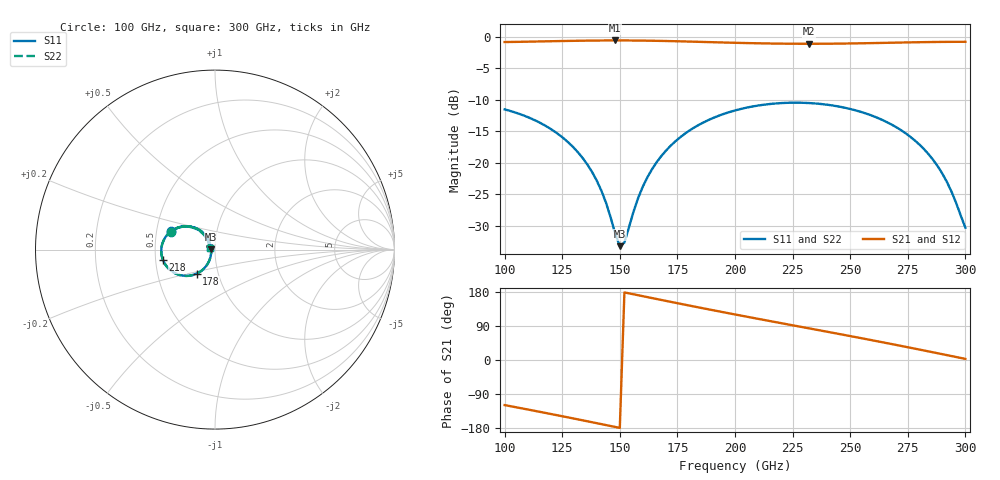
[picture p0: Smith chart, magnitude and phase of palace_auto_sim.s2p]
#  GHZ S DB R 50
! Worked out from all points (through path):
!   101 points, 100 GHz to 300 GHz, reference 50 ohm
!   highest |S21| = -0.61 dB at 148 GHz (marker M1); lowest = -1.1 dB at 232 GHz (marker M2)
!   group delay of S21, straight-line fit = 3.29 ps
!   lowest |S11| = -33.2 dB at 150 GHz (marker M3), VSWR 1.04, Z = 47.9 + j0.257 ohm
!   |S11| at or under -10 dB: start of sweep to end of sweep
!   |S22| runs from -33.3 to -10.5 dB; largest |S21 - S12| = 1.1e-14
!   S11 on the Smith chart (normalised r, x): 100 GHz: 0.60, +0.13; 178 GHz: 0.79, -0.22; 218 GHz: 0.55, -0.07; 300 GHz: 0.94, +0.02
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100  -11.53 157.6  -0.86 -119.0  -0.86 -119.0  -11.53 157.7
120  -14.64 136.4  -0.73 -142.4  -0.73 -142.4  -14.64 136.5
134  -19.30 124.5  -0.64 -159.4  -0.64 -159.4  -19.31 124.5
142  -24.43 124.2  -0.61 -169.2  -0.61 -169.2  -24.44 124.2
148  -31.23 147.4  -0.61 -176.7  -0.61 -176.7  -31.29 147.3
150  -33.22 172.9  -0.61 -179.2  -0.61 -179.2  -33.32 173.0
152  -32.66 -155.9  -0.61 178.4  -0.61 178.4  -32.73 -155.5
156  -27.69 -125.1  -0.62 173.4  -0.62 173.4  -27.71 -124.6
160  -23.78 -118.0  -0.63 168.4  -0.63 168.4  -23.78 -117.6
168  -18.95 -119.3  -0.68 158.5  -0.68 158.5  -18.95 -119.0
178  -15.46 -127.5  -0.76 146.3  -0.76 146.3  -15.46 -127.2
188  -13.30 -137.5  -0.86 134.3  -0.86 134.3  -13.30 -137.2
200  -11.71 -150.0  -0.98 120.2  -0.98 120.2  -11.70 -149.7
218  -10.59 -168.8  -1.10 99.5  -1.10 99.5  -10.59 -168.5
232  -10.53 176.6  -1.13 83.7  -1.13 83.7  -10.53 177.0
234  -10.57 174.5  -1.13 81.4  -1.13 81.4  -10.57 174.9
252  -11.66 155.8  -1.07 60.8  -1.07 60.8  -11.65 156.3
268  -13.95 139.8  -0.96 42.1  -0.96 42.1  -13.94 140.4
280  -17.10 129.4  -0.88 27.6  -0.88 27.6  -17.08 130.2
288  -20.56 125.7  -0.84 17.8  -0.84 17.8  -20.52 126.7
294  -24.60 129.4  -0.83 10.4  -0.83 10.4  -24.51 130.8
300  -30.29 158.3  -0.82 2.9  -0.82 2.9  -29.96 159.6
